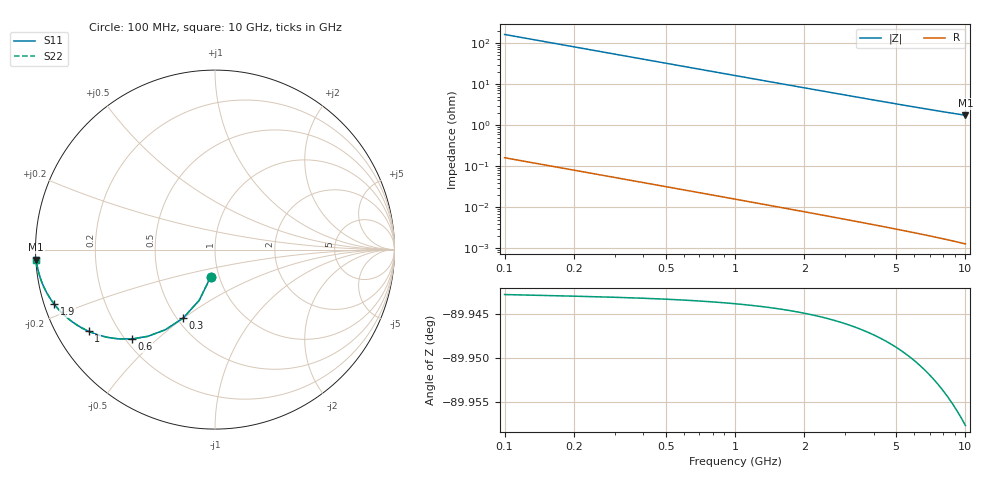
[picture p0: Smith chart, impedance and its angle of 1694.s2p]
# Hz S RI R 50.00
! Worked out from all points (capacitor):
!   100 points, 100 MHz to 10 GHz, reference 50 ohm
!   read as one part in shunt: C = 9.84 pF near 100 MHz
!   lowest |Z| = 1.75 ohm at 10 GHz (marker M1)
!   S11 on the Smith chart (normalised r, x): 100 MHz: 0.91, -0.28; 300 MHz: 0.54, -0.50; 600 MHz: 0.23, -0.42; 1 GHz: 0.10, -0.29; 1.9 GHz: 0.03, -0.17; 10 GHz: 0.00, -0.03
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1e8  -0.0235 -0.1509  0.9765 -0.151  0.9765 -0.151  -0.0235 -0.1509
2e8  -0.0875 -0.282  0.9125 -0.2822  0.9125 -0.2822  -0.0875 -0.282
3e8  -0.1773 -0.3812  0.8227 -0.3816  0.8227 -0.3816  -0.1773 -0.3812
4e8  -0.2768 -0.4467  0.7232 -0.4471  0.7232 -0.4471  -0.2768 -0.4467
5e8  -0.374 -0.4831  0.6259 -0.4837  0.6259 -0.4837  -0.374 -0.4831
6e8  -0.4624 -0.4977  0.5376 -0.4984  0.5376 -0.4984  -0.4624 -0.4977
7e8  -0.5391 -0.4975  0.4608 -0.4984  0.4608 -0.4984  -0.5391 -0.4975
8e8  -0.6043 -0.488  0.3957 -0.489  0.3957 -0.489  -0.6043 -0.488
1e9  -0.7045 -0.4552  0.2955 -0.4564  0.2955 -0.4564  -0.7045 -0.4552
1.1e9  -0.7425 -0.4361  0.2575 -0.4374  0.2575 -0.4374  -0.7425 -0.4361
1.3e9  -0.8009 -0.398  0.199 -0.3996  0.199 -0.3996  -0.8009 -0.398
1.5e9  -0.8426 -0.3628  0.1574 -0.3646  0.1574 -0.3646  -0.8426 -0.3628
1.8e9  -0.885 -0.3174  0.1149 -0.3195  0.1149 -0.3195  -0.885 -0.3174
1.9e9  -0.8955 -0.3042  0.1044 -0.3065  0.1044 -0.3065  -0.8955 -0.3042
2.2e9  -0.9199 -0.2696  0.0801 -0.2723  0.0801 -0.2723  -0.9199 -0.2696
2.6e9  -0.9412 -0.2331  0.0587 -0.2362  0.0587 -0.2362  -0.9412 -0.2331
3.4e9  -0.9647 -0.1819  0.0352 -0.186  0.0352 -0.186  -0.9647 -0.1819
4.2e9  -0.9766 -0.1481  0.0234 -0.1532  0.0234 -0.1532  -0.9766 -0.1481
5.1e9  -0.984 -0.1218  0.016 -0.128  0.016 -0.128  -0.984 -0.1218
6.7e9  -0.9907 -0.0912  0.00924 -0.0995  0.00924 -0.0995  -0.9907 -0.0912
8.4e9  -0.9941 -0.0705  0.00582 -0.0811  0.00582 -0.0811  -0.9941 -0.0705
1e10  -0.9958 -0.0569  0.00403 -0.0696  0.00403 -0.0696  -0.9958 -0.0569
